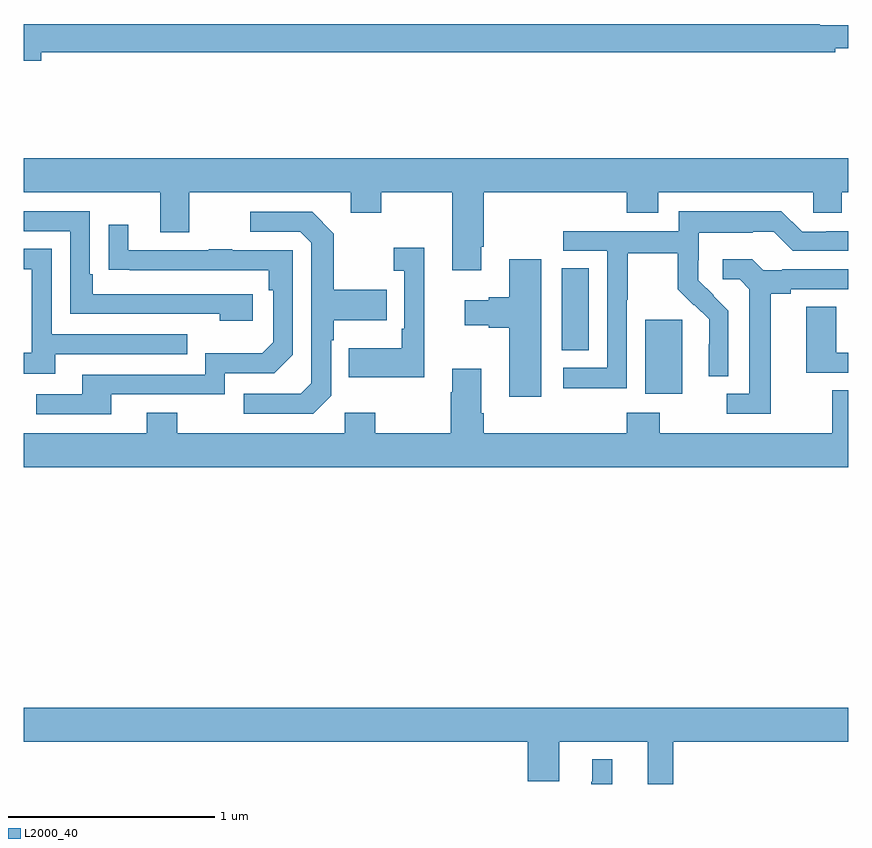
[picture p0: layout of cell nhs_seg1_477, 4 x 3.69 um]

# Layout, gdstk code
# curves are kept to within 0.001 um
import gdstk
lib = gdstk.Library(unit=1e-6, precision=1e-09)
def R(c, l, rs):  # rectangles x0, y0, x1, y1
    for r in rs: c.add(gdstk.rectangle(r[:2], r[2:], *l))
def P(c, l, *ps):  # polygons
    for p in ps: c.add(gdstk.Polygon(p, *l))
L2000_40 = (2000, 40)

nhs_seg1_477 = lib.new_cell('nhs_seg1_477')
R(nhs_seg1_477, L2000_40, [(140.015,548.09,140.194,548.451), (139.61,548.302,139.741,548.699)])
P(nhs_seg1_477, L2000_40, [(137.086,549.748),(140.936,549.748),(140.936,549.767),(141,549.767),(141,549.877),(140.86,549.877),(140.86,549.884),(137,549.884),(137,549.706),(137.086,549.706)],
  [(139.219,548.803),(139.232,548.803),(139.232,549.068),(139.925,549.068),(139.925,548.969),(140.077,548.969),(140.077,549.068),(140.829,549.068),(140.829,548.97),(140.967,548.97),(140.967,549.068),(141,549.068),(141,549.232),(137,549.232),(137,549.068),(137.663,549.068),(137.663,548.874),(137.803,548.874),(137.803,549.068),(138.587,549.068),(138.587,548.969),(138.735,548.969),(138.735,549.068),(139.079,549.068),(139.079,548.691),(139.219,548.691)],
  [(139.926,548.548),(139.929,548.548),(139.929,548.772),(140.173,548.772),(140.173,548.597),(140.25,548.52),(140.253,548.523),(140.324,548.453),(140.324,548.33),(140.322,548.33),(140.322,548.176),(140.418,548.176),(140.418,548.494),(140.272,548.642),(140.272,548.739),(140.274,548.739),(140.274,548.873),(140.537,548.873),(140.537,548.877),(140.637,548.877),(140.73,548.784),(141,548.784),(141,548.88),(140.891,548.88),(140.891,548.877),(140.775,548.877),(140.675,548.977),(140.178,548.977),(140.178,548.88),(139.617,548.88),(139.617,548.784),(139.83,548.784),(139.83,548.217),(139.617,548.217),(139.617,548.119),(139.926,548.119)],
  [(138.112,548.574),(137.335,548.574),(137.335,548.671),(137.322,548.671),(137.322,548.976),(137,548.976),(137,548.88),(137.226,548.88),(137.226,548.478),(137.951,548.478),(137.951,548.444),(138.112,548.444)],
  [(138.492,548.082),(138.492,548.351),(138.505,548.351),(138.505,548.447),(138.761,548.447),(138.761,548.595),(138.505,548.595),(138.505,548.867),(138.399,548.973),(138.099,548.973),(138.099,548.877),(138.342,548.877),(138.396,548.823),(138.396,548.142),(138.345,548.091),(138.069,548.091),(138.069,547.995),(138.405,547.995)],
  [(137.425,548.088),(137.976,548.088),(137.976,548.19),(138.216,548.19),(138.306,548.28),(138.306,548.787),(138.011,548.787),(138.011,548.792),(137.899,548.792),(137.899,548.787),(137.509,548.787),(137.509,548.911),(137.413,548.911),(137.413,548.692),(138.19,548.691),(138.19,548.594),(138.21,548.594),(138.21,548.34),(138.157,548.287),(137.88,548.287),(137.88,548.184),(137.285,548.184),(137.285,548.088),(137.061,548.088),(137.061,547.992),(137.425,547.992)],
  [(138.944,548.8),(138.795,548.8),(138.795,548.687),(138.846,548.687),(138.846,548.407),(138.834,548.407),(138.834,548.311),(138.577,548.311),(138.577,548.171),(138.944,548.171)],
  [(137.155,548.283),(137.795,548.283),(137.795,548.379),(137.136,548.379),(137.136,548.795),(137,548.795),(137,548.694),(137.04,548.694),(137.04,548.289),(137,548.289),(137,548.189),(137.155,548.189)],
  [(140.623,548.576),(140.719,548.576),(140.719,548.598),(141,548.598),(141,548.694),(140.68,548.694),(140.68,548.691),(140.586,548.691),(140.534,548.743),(140.391,548.743),(140.391,548.646),(140.472,548.646),(140.519,548.599),(140.519,548.091),(140.409,548.091),(140.409,547.995),(140.623,547.995)],
  [(139.51,548.743),(139.355,548.743),(139.355,548.558),(139.256,548.558),(139.256,548.545),(139.14,548.545),(139.14,548.423),(139.256,548.423),(139.256,548.411),(139.355,548.411),(139.355,548.076),(139.51,548.076)],
  [(141,548.289),(140.94,548.289),(140.94,548.513),(140.795,548.513),(140.795,548.193),(141,548.193)],
  [(141,548.108),(140.921,548.108),(140.921,547.9),(140.085,547.9),(140.085,547.999),(139.925,547.999),(139.925,547.9),(139.232,547.9),(139.232,547.996),(139.219,547.996),(139.219,548.212),(139.079,548.212),(139.079,548.099),(139.072,548.099),(139.072,547.9),(138.705,547.9),(138.705,547.999),(138.558,547.999),(138.558,547.9),(137.745,547.9),(137.745,547.999),(137.597,547.999),(137.597,547.9),(137,547.9),(137,547.736),(141,547.736)],
  [(140.15,546.404),(141,546.404),(141,546.568),(137,546.568),(137,546.404),(139.445,546.404),(139.445,546.212),(139.597,546.212),(139.597,546.404),(140.027,546.404),(140.027,546.199),(140.15,546.199)],
  [(139.855,546.319),(139.757,546.319),(139.757,546.209),(139.753,546.209),(139.753,546.199),(139.855,546.199)])

lib.write_gds('nhs_seg1_477.gds')
